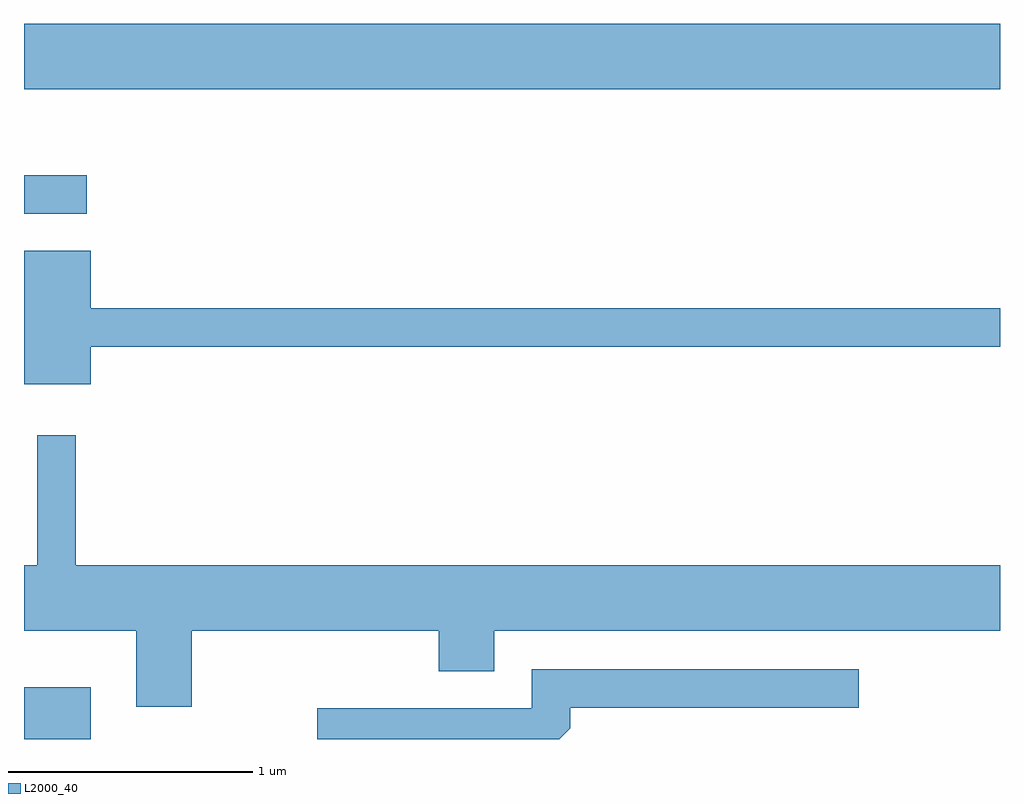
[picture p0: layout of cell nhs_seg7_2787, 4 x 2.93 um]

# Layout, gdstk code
import gdstk
lib = gdstk.Library(unit=1e-6, precision=1e-09)
def R(c, l, rs):  # rectangles x0, y0, x1, y1
    for r in rs: c.add(gdstk.rectangle(r[:2], r[2:], *l))
def P(c, l, *ps):  # polygons
    for p in ps: c.add(gdstk.Polygon(p, *l))
L2000_40 = (2000, 40)

nhs_seg7_2787 = lib.new_cell('nhs_seg7_2787')
R(nhs_seg7_2787, L2000_40, [(269.611,1778.252,269.884,1778.464), (269.611,1780.406,269.868,1780.564), (269.611,1780.916,273.611,1781.184)])
P(nhs_seg7_2787, L2000_40, [(269.884,1779.861),(273.611,1779.861),(273.611,1780.019),(269.884,1780.019),(269.884,1780.254),(269.611,1780.254),(269.611,1779.706),(269.884,1779.706)],
  [(270.299,1778.696),(271.311,1778.696),(271.311,1778.531),(271.539,1778.531),(271.539,1778.696),(273.611,1778.696),(273.611,1778.964),(269.824,1778.964),(269.824,1779.498),(269.666,1779.498),(269.666,1778.964),(269.611,1778.964),(269.611,1778.696),(270.071,1778.696),(270.071,1778.386),(270.299,1778.386)],
  [(271.849,1778.297),(271.849,1778.381),(273.033,1778.381),(273.033,1778.539),(271.691,1778.539),(271.691,1778.379),(270.813,1778.379),(270.813,1778.252),(271.805,1778.252)])

lib.write_gds('nhs_seg7_2787.gds')
